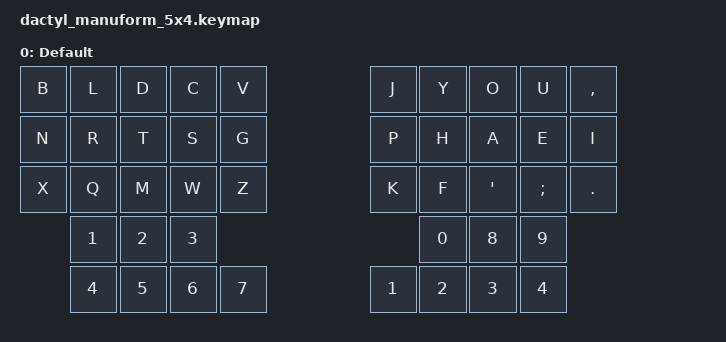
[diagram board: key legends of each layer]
#include <behaviors.dtsi>
#include <dt-bindings/zmk/keys.h>
#include <dt-bindings/zmk/bt.h>
#include <dt-bindings/zmk/outputs.h>

#define DEFAULT 0


/ {
    keymap {
        compatible = "zmk,keymap";

        default_layer {
            display-name = "Default";
            bindings = <
                &kp B          &kp L     &kp D    &kp C     &kp V                            &kp J     &kp Y     &kp O     &kp U    &kp COMMA
                &kp N          &kp R     &kp T    &kp S     &kp G                            &kp P     &kp H     &kp A     &kp E    &kp I
                &kp X          &kp Q     &kp M    &kp W     &kp Z                            &kp K     &kp F     &kp SQT   &kp SEMI &kp DOT
                               &kp 1     &kp 2    &kp 3                                                &kp 0     &kp 8     &kp 9
                               &kp 4     &kp 5    &kp 6     &kp 7                            &kp 1     &kp 2     &kp 3     &kp 4
            >;
        };
    };
};
